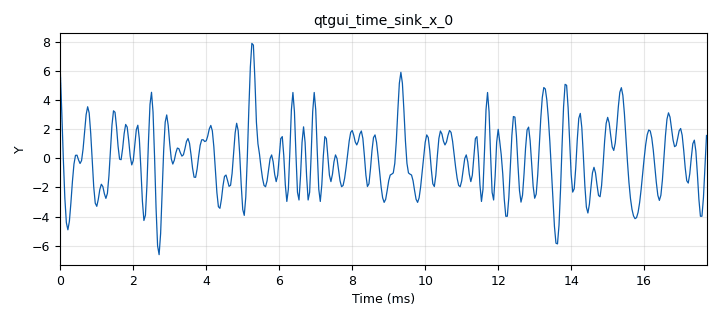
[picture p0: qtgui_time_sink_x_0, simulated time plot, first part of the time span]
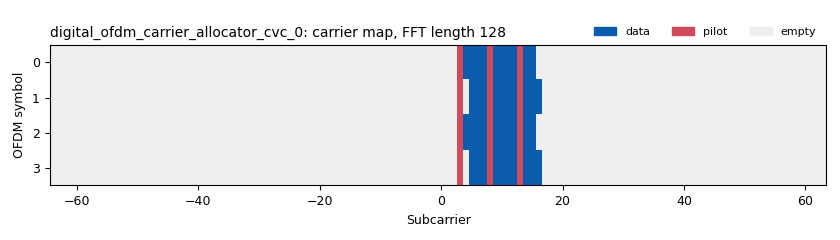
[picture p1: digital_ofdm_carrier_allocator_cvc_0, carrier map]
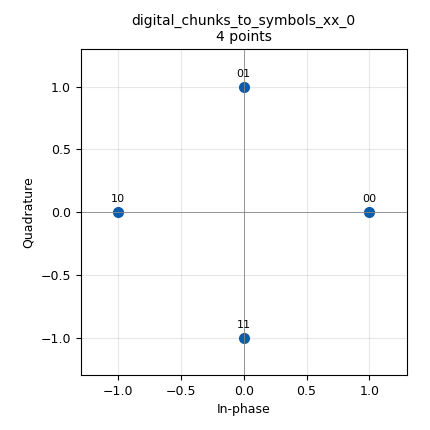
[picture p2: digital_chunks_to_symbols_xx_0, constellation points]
options:
  parameters:
    author: adahlhoff
    generate_options: qt_gui
    id: ofdm_enc2
    output_language: python
    title: Not titled yet
  states: {}

blocks:
- name: fft_len
  id: variable
  parameters:
    value: '128'
  states: {}
- name: samp_rate
  id: variable
  parameters:
    value: '24000'
  states: {}
- name: analog_random_source_x_0
  id: analog_random_source_x
  parameters:
    max: '3'
    min: '0'
    num_samps: '2500'
    repeat: 'False'
    type: byte
  states: {}
- name: blocks_complex_to_float_0
  id: blocks_complex_to_float
  parameters: {}
  states: {}
- name: blocks_multiply_const_vxx_0
  id: blocks_multiply_const_vxx
  parameters:
    const: '0.075'
    type: float
  states: {}
- name: blocks_null_sink_0
  id: blocks_null_sink
  parameters:
    type: float
  states: {}
- name: blocks_stream_to_tagged_stream_0
  id: blocks_stream_to_tagged_stream
  parameters:
    len_tag_key: '"packet_len"'
    packet_len: '20'
    type: byte
  states: {}
- name: blocks_tag_debug_0
  id: blocks_tag_debug
  parameters:
    type: complex
  states: {state: disabled}
- name: blocks_tag_debug_0_0
  id: blocks_tag_debug
  parameters:
    type: complex
    vlen: fft_len
  states: {state: disabled}
- name: blocks_throttle_0
  id: blocks_throttle
  parameters:
    samples_per_second: '50'
    type: byte
  states: {state: disabled}
- name: blocks_throttle_0_0
  id: blocks_throttle
  parameters:
    samples_per_second: samp_rate
    type: float
  states: {}
- name: blocks_wavfile_sink_0
  id: blocks_wavfile_sink
  parameters:
    bits_per_sample1: FORMAT_PCM_16
    file: /tmp/muell.wav
    format: FORMAT_WAV
    samp_rate: '48000'
  states: {}
- name: digital_chunks_to_symbols_xx_0
  id: digital_chunks_to_symbols_xx
  parameters:
    dimension: '1'
    in_type: byte
    out_type: complex
    symbol_table: (0j+1,1j+0,0j-1,0-1j)
  states: {}
- name: digital_ofdm_carrier_allocator_cvc_0
  id: digital_ofdm_carrier_allocator_cvc
  parameters:
    fft_len: fft_len
    len_tag_key: '"packet_len"'
    occupied_carriers: '[(4,5,6,7,9,10,11,12,14,15),(16,5,6,7,9,10,11,12,14,15)]'
    output_is_shifted: 'False'
    pilot_carriers: '[(3,8,13),(3,8,13)]'
    pilot_symbols: '[(1+0j,1+0j,1+0j),(1+0j,1+0j,1+0.2j)]'
    sync_words: ((0j+0.00,0j+0.00,0j+0.00,0j+0.12,0j+0.89,0j+-1.00,0j+0.24,0j+-0.64,0j+0.84,0j+-0.96,0j+-0.27,0j+-0.16,0j+-0.28,0j+-0.08,0j+0.27,0j+-0.50,0j+0.95,0j+0.82,0j+0.82,0j+0.53,0j+0.57,0j+0.00,0j+0.00,0j+0.00,0j+0.00,0j+0.00,0j+0.00,0j+0.00,0j+0.00,0j+0.00,0j+0.00,0j+0.00,0j+0.00,0j+0.00,0j+0.00,0j+0.00,0j+0.00,0j+0.00,0j+0.00,0j+0.00,0j+0.00,0j+0.00,0j+0.00,0j+0.00,0j+0.00,0j+0.00,0j+0.00,0j+0.00,0j+0.00,0j+0.00,0j+0.00,0j+0.00,0j+0.00,0j+0.00,0j+0.00,0j+0.00,0j+0.00,0j+0.00,0j+0.00,0j+0.00,0j+0.00,0j+0.00,0j+0.00,0j+0.00,0j+0.00,0j+0.00,0j+0.00,0j+0.00,0j+0.00,0j+0.00,0j+0.00,0j+0.00,0j+0.00,0j+0.00,0j+0.00,0j+0.00,0j+0.00,0j+0.00,0j+0.00,0j+0.00,0j+0.00,0j+0.00,0j+0.00,0j+0.00,0j+0.00,0j+0.00,0j+0.00,0j+0.00,0j+0.00,0j+0.00,0j+0.00,0j+0.00,0j+0.00,0j+0.00,0j+0.00,0j+0.00,0j+0.00,0j+0.00,0j+0.00,0j+0.00,0j+0.00,0j+0.00,0j+0.00,0j+0.00,0j+0.00,0j+0.00,0j+0.00,0j+0.00,0j+0.00,0j+0.00,0j+0.00,0j+0.00,0j+0.00,0j+0.00,0j+0.00,0j+0.00,0j+0.00,0j+0.00,0j+0.00,0j+0.00,0j+0.00,0j+0.00,0j+0.00,0j+0.00,0j+0.00,0j+0.00,0j+0.00,0j+0.00),)
  states: {}
- name: digital_ofdm_cyclic_prefixer_0
  id: digital_ofdm_cyclic_prefixer
  parameters:
    cp_len: fft_len//4
    input_size: fft_len
    rolloff: '4'
    tagname: ''
  states: {}
- name: fft_vxx_0
  id: fft_vxx
  parameters:
    fft_size: fft_len
    forward: 'False'
    shift: 'False'
    type: complex
    window: ()
  states: {}
- name: mmse_resampler_xx_0
  id: mmse_resampler_xx
  parameters:
    phase_shift: '0.0'
    resamp_ratio: samp_rate/48000
    type: float
  states: {}
- name: qtgui_time_sink_x_0
  id: qtgui_time_sink_x
  parameters:
    autoscale: 'True'
    grid: 'True'
    size: '2048'
    srate: '24000'
    type: float
    ylabel: Y
  states: {}

connections:
- [analog_random_source_x_0, '0', blocks_stream_to_tagged_stream_0, '0']
- [analog_random_source_x_0, '0', blocks_throttle_0, '0']
- [blocks_complex_to_float_0, '0', blocks_throttle_0_0, '0']
- [blocks_multiply_const_vxx_0, '0', blocks_wavfile_sink_0, '0']
- [blocks_stream_to_tagged_stream_0, '0', digital_chunks_to_symbols_xx_0, '0']
- [blocks_throttle_0, '0', blocks_stream_to_tagged_stream_0, '0']
- [blocks_throttle_0_0, '0', blocks_null_sink_0, '0']
- [blocks_throttle_0_0, '0', mmse_resampler_xx_0, '0']
- [blocks_throttle_0_0, '0', qtgui_time_sink_x_0, '0']
- [digital_chunks_to_symbols_xx_0, '0', blocks_tag_debug_0, '0']
- [digital_chunks_to_symbols_xx_0, '0', digital_ofdm_carrier_allocator_cvc_0, '0']
- [digital_ofdm_carrier_allocator_cvc_0, '0', blocks_tag_debug_0_0, '0']
- [digital_ofdm_carrier_allocator_cvc_0, '0', fft_vxx_0, '0']
- [digital_ofdm_cyclic_prefixer_0, '0', blocks_complex_to_float_0, '0']
- [fft_vxx_0, '0', digital_ofdm_cyclic_prefixer_0, '0']
- [mmse_resampler_xx_0, '0', blocks_multiply_const_vxx_0, '0']

metadata:
  file_format: 1
  grc_version: 3.10.2.0
